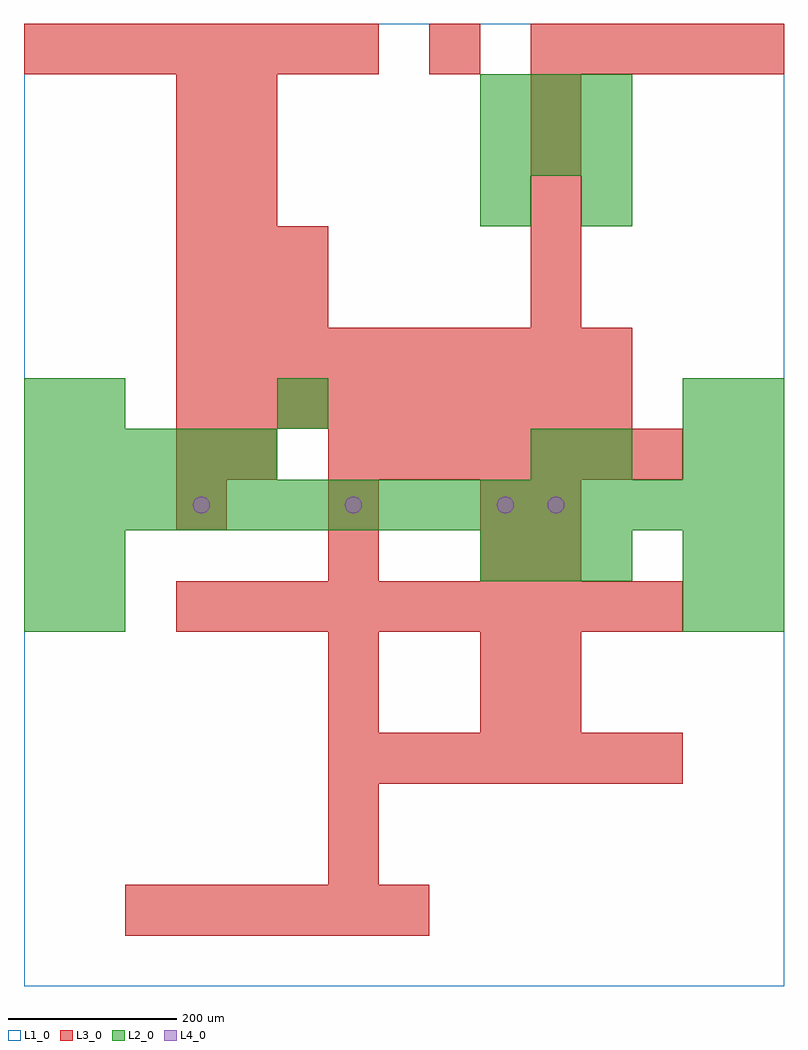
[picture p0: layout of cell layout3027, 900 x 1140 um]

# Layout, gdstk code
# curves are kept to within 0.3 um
import gdstk
lib = gdstk.Library(unit=1e-6, precision=1e-09)
def R(c, l, rs):  # rectangles x0, y0, x1, y1
    for r in rs: c.add(gdstk.rectangle(r[:2], r[2:], *l))
def A(c, l, x, y, w, h, nx, ny, dx, dy):  # array of equal rectangles
    R(c, l, [(x+i*dx, y+j*dy, x+i*dx+w, y+j*dy+h) for i in range(nx) for j in range(ny)])
def P(c, l, *ps):  # polygons
    for p in ps: c.add(gdstk.Polygon(p, *l))
L1_0 = (1, 0)
L2_0 = (2, 0)
L3_0 = (3, 0)
L4_0 = (4, 0)

layout3027 = lib.new_cell('layout3027')
R(layout3027, L1_0, [(0,0,900,1140)])
A(layout3027, L2_0, 540, 480, 60, 60, 3, 2, 60, 480)
A(layout3027, L2_0, 0, 540, 60, 60, 15, 1, 60, 0)
A(layout3027, L2_0, 0, 600, 60, 60, 5, 1, 60, 0)
A(layout3027, L2_0, 540, 1020, 60, 60, 3, 1, 60, 0)
R(layout3027, L2_0, [(0,420,60,480), (60,420,120,480), (780,420,840,480), (840,420,900,480), (0,480,60,540), (60,480,120,540), (780,480,840,540), (840,480,900,540), (600,600,660,660), (660,600,720,660), (780,600,840,660), (840,600,900,660), (0,660,60,720), (60,660,120,720), (300,660,360,720), (780,660,840,720), (840,660,900,720), (540,900,600,960), (660,900,720,960)])
A(layout3027, L3_0, 120, 60, 60, 60, 6, 1, 60, 0)
A(layout3027, L3_0, 360, 240, 60, 60, 7, 2, 60, 360)
A(layout3027, L3_0, 180, 420, 60, 60, 10, 1, 60, 0)
A(layout3027, L3_0, 180, 540, 60, 60, 3, 1, 180, 0)
A(layout3027, L3_0, 180, 660, 60, 60, 9, 2, 60, 60)
A(layout3027, L3_0, 180, 780, 60, 60, 3, 2, 60, 60)
A(layout3027, L3_0, 600, 780, 60, 60, 1, 5, 0, 60)
A(layout3027, L3_0, 180, 900, 60, 60, 1, 3, 0, 60)
A(layout3027, L3_0, 240, 900, 60, 60, 1, 3, 0, 60)
A(layout3027, L3_0, 0, 1080, 60, 60, 7, 1, 60, 0)
A(layout3027, L3_0, 600, 1080, 60, 60, 5, 1, 60, 0)
R(layout3027, L3_0, [(360,120,420,180), (360,180,420,240), (360,300,420,360), (540,300,600,360), (600,300,660,360), (360,360,420,420), (540,360,600,420), (600,360,660,420), (360,480,420,540), (540,480,600,540), (600,480,660,540), (600,540,660,600), (180,600,240,660), (240,600,300,660), (480,1080,540,1140)])
P(layout3027, L4_0, [(220,570),(219.239,573.827),(217.071,577.071),(213.827,579.239),(210,580),(206.173,579.239),(202.929,577.071),(200.761,573.827),(200,570),(200.761,566.173),(202.929,562.929),(206.173,560.761),(210,560),(213.827,560.761),(217.071,562.929),(219.239,566.173)],
  [(400,570),(399.239,573.827),(397.071,577.071),(393.827,579.239),(390,580),(386.173,579.239),(382.929,577.071),(380.761,573.827),(380,570),(380.761,566.173),(382.929,562.929),(386.173,560.761),(390,560),(393.827,560.761),(397.071,562.929),(399.239,566.173)],
  [(580,570),(579.239,573.827),(577.071,577.071),(573.827,579.239),(570,580),(566.173,579.239),(562.929,577.071),(560.761,573.827),(560,570),(560.761,566.173),(562.929,562.929),(566.173,560.761),(570,560),(573.827,560.761),(577.071,562.929),(579.239,566.173)],
  [(640,570),(639.239,573.827),(637.071,577.071),(633.827,579.239),(630,580),(626.173,579.239),(622.929,577.071),(620.761,573.827),(620,570),(620.761,566.173),(622.929,562.929),(626.173,560.761),(630,560),(633.827,560.761),(637.071,562.929),(639.239,566.173)])

lib.write_gds('layout3027.gds')
